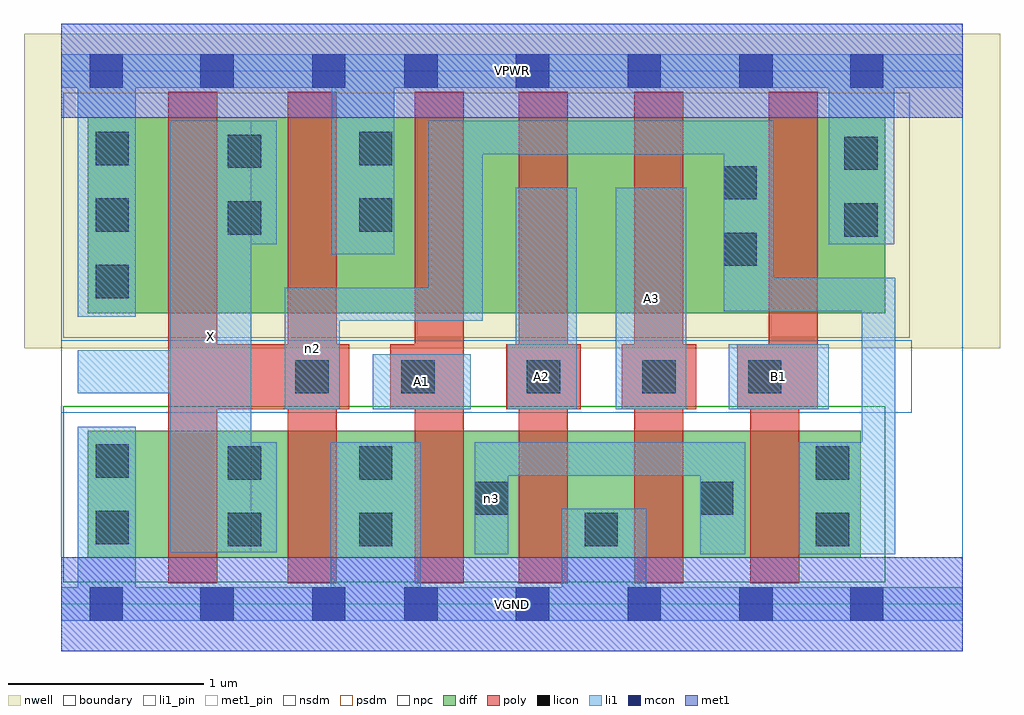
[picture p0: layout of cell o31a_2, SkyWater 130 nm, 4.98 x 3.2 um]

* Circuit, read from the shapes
.subckt o31a_2 A1 A2 A3 B1 VGND VPWR X n2 n3
XM1 X n2 VGND VSUBS sky130_fd_pr__nfet_01v8 w=0.65 l=0.25 m=2
XM2 n3 A1 VGND VSUBS sky130_fd_pr__nfet_01v8 w=0.65 l=0.25
XM3 VGND A2 n3 VSUBS sky130_fd_pr__nfet_01v8 w=0.65 l=0.25
XM4 n3 A3 VGND VSUBS sky130_fd_pr__nfet_01v8 w=0.65 l=0.25
XM5 n2 B1 n3 VSUBS sky130_fd_pr__nfet_01v8 w=0.65 l=0.25
XM6 X n2 VPWR n1 sky130_fd_pr__pfet_01v8 w=1 l=0.25 m=2
XM7 n4 A1 VPWR n1 sky130_fd_pr__pfet_01v8 w=1 l=0.25
XM8 n5 A2 n4 n1 sky130_fd_pr__pfet_01v8 w=1 l=0.25
XM9 n2 A3 n5 n1 sky130_fd_pr__pfet_01v8 w=1 l=0.25
XM10 VPWR B1 n2 n1 sky130_fd_pr__pfet_01v8 w=1 l=0.25
.ends

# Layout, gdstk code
import gdstk
lib = gdstk.Library(unit=1e-6, precision=1e-09)
def R(c, l, rs):  # rectangles x0, y0, x1, y1
    for r in rs: c.add(gdstk.rectangle(r[:2], r[2:], *l))
def A(c, l, x, y, w, h, nx, ny, dx, dy):  # array of equal rectangles
    R(c, l, [(x+i*dx, y+j*dy, x+i*dx+w, y+j*dy+h) for i in range(nx) for j in range(ny)])
nwell = (64, 20)
diff = (65, 20)
poly = (66, 20)
licon = (66, 44)
li1_pin = (67, 16)
li1 = (67, 20)
mcon = (67, 44)
met1_pin = (68, 16)
met1 = (68, 20)
nsdm = (93, 44)
psdm = (94, 20)
npc = (95, 20)
boundary = (235, 4)

o31a_2 = lib.new_cell('o31a_2')
R(o31a_2, nwell, [(-0.19,1.305,4.79,2.91), (0,1.305,4.6,2.91)])
R(o31a_2, diff, [(0.135,0.235,4.08,0.885), (0.135,1.485,4.205,2.485)])
R(o31a_2, poly, [(0.545,0.105,0.795,2.615), (1.155,0.105,1.405,2.615), (1.805,0.105,2.055,2.615), (2.335,0.105,2.585,2.615), (2.925,0.105,3.175,2.615), (3.515,0.105,3.765,1.325), (0.545,0.995,1.47,1.325), (1.68,0.995,2.055,1.325), (2.27,0.995,2.65,1.325), (2.86,0.995,3.24,1.325), (3.45,0.995,3.86,1.325), (3.61,0.995,3.86,2.615)])
A(o31a_2, licon, 0.175, 1.56, 0.17, 0.17, 1, 3, 0, 0.34)
R(o31a_2, licon, [(0.85,0.295,1.02,0.465), (1.52,0.295,1.69,0.465), (2.67,0.295,2.84,0.465), (3.85,0.295,4.02,0.465), (0.175,0.305,0.345,0.475), (2.11,0.455,2.28,0.625), (3.26,0.455,3.43,0.625), (0.85,0.635,1.02,0.805), (1.52,0.635,1.69,0.805), (3.85,0.635,4.02,0.805), (0.175,0.645,0.345,0.815), (1.195,1.075,1.365,1.245), (1.735,1.075,1.905,1.245), (2.375,1.075,2.545,1.245), (2.965,1.075,3.135,1.245), (3.505,1.075,3.675,1.245), (3.38,1.725,3.55,1.895), (3.995,1.875,4.165,2.045), (0.85,1.885,1.02,2.055), (1.52,1.9,1.69,2.07), (3.38,2.065,3.55,2.235), (3.995,2.215,4.165,2.385), (0.85,2.225,1.02,2.395), (1.52,2.24,1.69,2.41)])
R(o31a_2, li1_pin, [(0.555,0.265,0.97,2.465), (1.59,0.995,2.09,1.275), (2.275,0.995,2.63,1.325), (2.83,0.995,3.19,2.125), (3.405,0.995,3.915,1.325)])
R(o31a_2, li1, [(0,-0.085,4.6,0.085), (0.085,-0.085,0.38,0.905), (1.375,-0.085,1.835,0.825), (2.555,-0.085,2.985,0.485), (2.11,0.255,2.28,0.825), (3.26,0.255,3.49,0.825), (3.765,0.255,4.255,0.825), (4.085,0.255,4.255,1.665), (0.555,0.265,0.97,2.465), (0.555,0.265,1.1,0.825), (2.11,0.655,3.49,0.825), (1.14,0.995,1.42,1.615), (1.59,0.995,2.09,1.275), (2.275,0.995,2.63,1.325), (2.32,0.995,2.63,2.125), (2.83,0.995,3.19,2.125), (3.405,0.995,3.915,1.325), (0.085,1.075,0.97,1.295), (1.14,1.445,2.15,1.615), (1.875,1.445,2.15,2.465), (0.085,1.465,0.38,2.805), (3.38,1.495,3.635,2.465), (3.38,1.495,4.255,1.665), (1.38,1.785,1.7,2.805), (0.555,1.835,1.1,2.465), (3.915,1.835,4.25,2.805), (1.875,2.295,3.635,2.465), (0,2.635,4.6,2.805)])
A(o31a_2, mcon, 1.75, -0.085, 0.17, 0.17, 4, 2, 0.57, 2.72)
R(o31a_2, mcon, [(0.145,-0.085,0.315,0.085), (0.71,-0.085,0.88,0.085), (1.28,-0.085,1.45,0.085), (4.025,-0.085,4.195,0.085), (0.145,2.635,0.315,2.805), (0.71,2.635,0.88,2.805), (1.28,2.635,1.45,2.805), (4.025,2.635,4.195,2.805)])
R(o31a_2, met1_pin, [(0,-0.24,4.6,0.24), (0,2.48,4.6,2.96)])
R(o31a_2, met1, [(0,-0.24,4.6,0.24), (0,2.48,4.6,2.96)])
R(o31a_2, nsdm, [(0.01,0.11,4.205,1.01)])
R(o31a_2, psdm, [(0.01,1.36,4.33,2.61)])
R(o31a_2, npc, [(0,0.975,4.34,1.345)])
R(o31a_2, boundary, [(0,0,4.6,2.72)])
o31a_2.add(gdstk.Label('A1', (1.84,1.135), layer=67, texttype=5))
o31a_2.add(gdstk.Label('A2', (2.452,1.16), layer=67, texttype=5))
o31a_2.add(gdstk.Label('A3', (3.01,1.56), layer=67, texttype=5))
o31a_2.add(gdstk.Label('B1', (3.66,1.16), layer=67, texttype=5))
o31a_2.add(gdstk.Label('X', (0.762,1.365), layer=67, texttype=5))
o31a_2.add(gdstk.Label('n3', (2.195,0.54), layer=67, texttype=5))
o31a_2.add(gdstk.Label('n2', (1.28,1.305), layer=67, texttype=5))
o31a_2.add(gdstk.Label('VPWR', (2.3,2.72), layer=68, texttype=5))
o31a_2.add(gdstk.Label('VGND', (2.3,0), layer=68, texttype=5))
o31a_2.add(gdstk.Label('A1', (1.84,1.135), layer=67, texttype=16))
o31a_2.add(gdstk.Label('A2', (2.452,1.16), layer=67, texttype=16))
o31a_2.add(gdstk.Label('A3', (3.01,1.56), layer=67, texttype=16))
o31a_2.add(gdstk.Label('B1', (3.66,1.16), layer=67, texttype=16))
o31a_2.add(gdstk.Label('X', (0.762,1.365), layer=67, texttype=16))
o31a_2.add(gdstk.Label('VPWR', (2.3,2.72), layer=68, texttype=16))
o31a_2.add(gdstk.Label('VGND', (2.3,0), layer=68, texttype=16))

lib.write_gds('o31a_2.gds')
